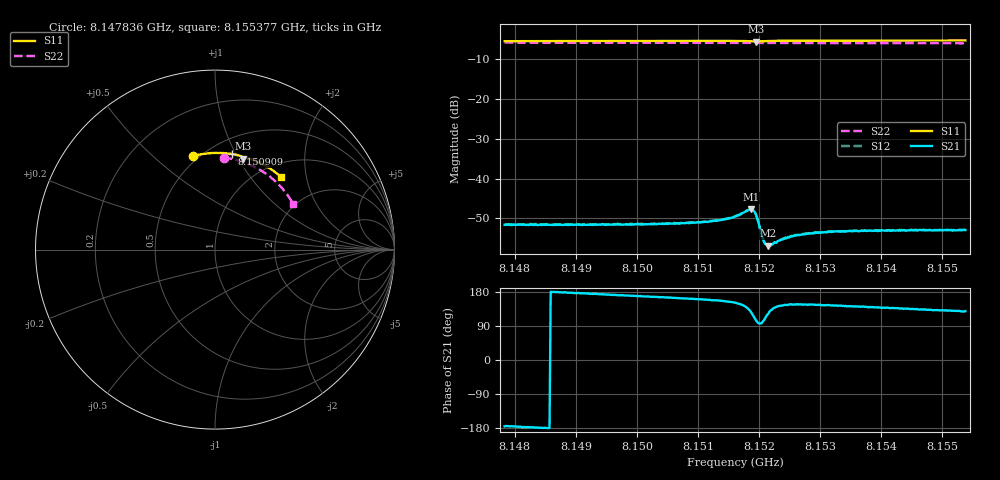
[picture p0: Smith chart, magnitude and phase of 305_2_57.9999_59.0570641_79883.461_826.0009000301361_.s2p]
#  HZ  S  RI  R  50.00
! Rohde & Schwarz Vector Network Analyzer
! Rohde-Schwarz,ZNB20-2Port,1311601062101988,3.16
! Created: UTC 3/21/2024, 1:03:57 AM
! freq[Hz]  re:S11  im:S11  re:S21  im:S21  re:S12  im:S12  re:S22  im:S22
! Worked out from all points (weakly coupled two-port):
!   401 points, 8.147836 GHz to 8.155377 GHz, reference 50 ohm
!   highest |S21| = -47.70 dB at 8.15187 GHz (marker M1); lowest = -56.9 dB at 8.152153 GHz (marker M2)
!   lowest |S11| = -5.5 dB at 8.151946 GHz (marker M3), VSWR 3.25, Z = 37.2 + j52.4 ohm
!   |S11| at or under -10 dB: nowhere
!   |S22| runs from -5.9 to -5.8 dB; largest |S21 - S12| = 0.00014
!   S11 on the Smith chart (normalised r, x): 8.147836 GHz: 0.47, +0.68; 8.150909 GHz: 0.64, +0.96; 8.155377 GHz: 1.24, +1.43
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8.1478357e9  -0.1207 0.5219  -0.00262 -0.000225  -0.00268 -0.000203  0.0478 0.5122
8.1490988e9  -0.034 0.5369  -0.00261 0.000183  -0.00264 0.000247  0.1289 0.4966
8.150362e9  0.0542 0.5374  -0.00264 0.000667  -0.00264 0.000697  0.2058 0.4684
8.1509087e9  0.092 0.5328  -0.00266 0.000895  -0.00264 0.000932  0.2371 0.4524
8.1512858e9  0.1185 0.5281  -0.00276 0.00112  -0.00274 0.00117  0.2582 0.4403
8.1516063e9  0.1419 0.5218  -0.00293 0.00162  -0.00293 0.00169  0.2755 0.4291
8.1518137e9  0.1568 0.5132  -0.00288 0.00275  -0.00288 0.00282  0.2864 0.4212
8.1518703e9  0.1588 0.509  -0.00242 0.00334  -0.00233 0.00338  0.2894 0.4191
8.151908e9  0.1585 0.5067  -0.00175 0.00358  -0.00176 0.00365  0.2909 0.4177
8.1519457e9  0.1573 0.5059  -0.000964 0.00346  -0.000926 0.00349  0.2928 0.4162
8.1519834e9  0.1566 0.5073  -0.000396 0.00288  -0.00035 0.00293  0.2947 0.415
8.1520588e9  0.1602 0.511  -0.000353 0.00177  -0.000301 0.0018  0.2986 0.4123
8.1520776e9  0.1617 0.5116  -0.000406 0.00159  -0.000389 0.00157  0.2995 0.4116
8.1521153e9  0.1648 0.5121  -0.000622 0.00135  -0.00061 0.00136  0.3015 0.4102
8.1521531e9  0.168 0.5124  -0.000769 0.00121  -0.000771 0.00119  0.3035 0.4087
8.1521908e9  0.1712 0.5121  -0.000947 0.00109  -0.000969 0.00113  0.3055 0.4073
8.1524547e9  0.1911 0.5077  -0.00147 0.00102  -0.0015 0.00104  0.3185 0.3967
8.1526055e9  0.2015 0.5041  -0.00162 0.00105  -0.00165 0.00108  0.3259 0.3903
8.1528695e9  0.219 0.4975  -0.00174 0.00114  -0.00173 0.00117  0.3384 0.3791
8.1532654e9  0.2446 0.4863  -0.00177 0.00129  -0.00173 0.00131  0.3564 0.3614
8.1541326e9  0.2973 0.4574  -0.00164 0.00153  -0.00164 0.00155  0.3922 0.32
8.155377e9  0.3663 0.4066  -0.00142 0.00176  -0.0014 0.00179  0.4352 0.2545
